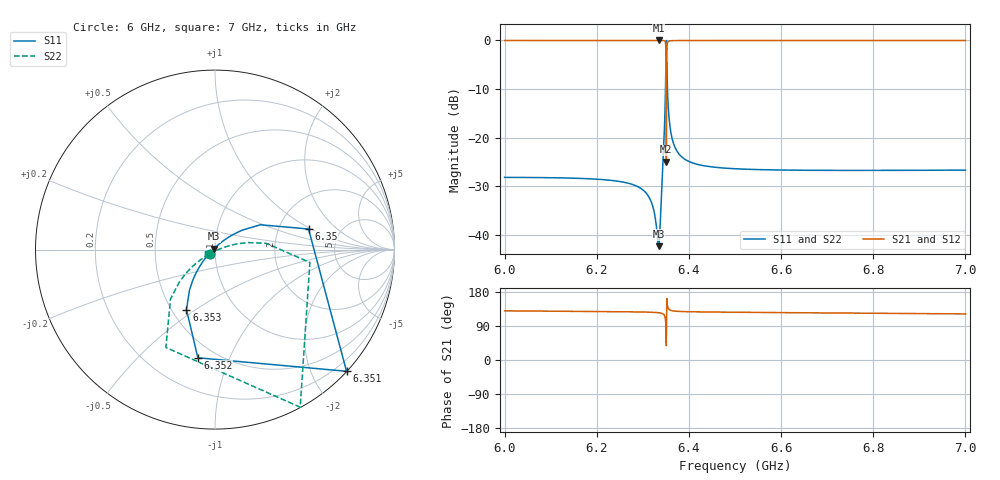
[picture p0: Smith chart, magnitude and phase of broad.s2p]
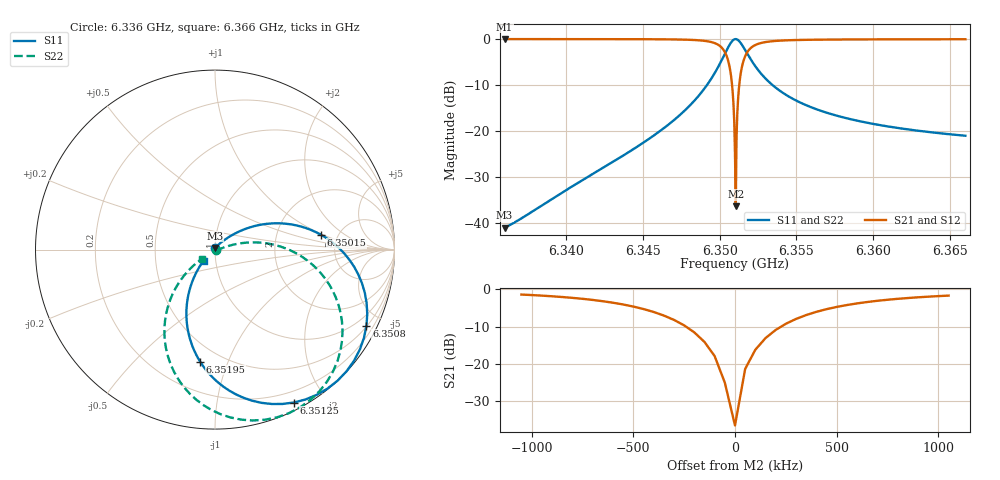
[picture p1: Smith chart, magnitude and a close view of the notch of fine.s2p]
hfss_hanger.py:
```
"""Single-channel HFSS driven S21 simulation for Design7_Tunable_Transmon lambda/4 hanger resonator.

Follows skill/em_simulation.md defaults:
- 4 adaptive passes, max_delta_s = 0.01, first-order basis
- Explicit 10 um length-based mesh on feedline and resonator traces
- Ground wire bonds on every etched path (wb_threshold = '350um')
- Broadband sweep to locate dip + fine sweep around dip to extract f_r, Q_c, and kappa/2pi

Usage (from repository root, qmetal Python, AEDT running):
    python -X utf8 -B Design7_Tunable_Transmon/simulation/resonator/hfss_hanger.py \
        --tag hanger_base --f-target 6.5 --coup-len 300 --coup-strip 8
"""
from argparse import ArgumentParser
from collections import OrderedDict
from pathlib import Path
import json
import math
import sys
import time
import warnings

import numpy as np
import pandas as pd

warnings.filterwarnings('ignore')

REPO = Path(__file__).resolve().parents[3]
sys.path[:0] = [str(REPO / 'code' / 'general')]
import project_paths  # noqa: E402

project_paths.configure(__file__)
DESIGN = project_paths.design_dir(__file__)
sys.path[:0] = [str(DESIGN / 'layout'), *project_paths.pattern_design_paths()]

from qiskit_metal import Dict, designs  # noqa: E402
from qiskit_metal.qlibrary.terminations.open_to_ground import OpenToGround  # noqa: E402
from qiskit_metal.qlibrary.tlines.straight_path import RouteStraight  # noqa: E402
import build as d7  # noqa: E402
from run_record import create_run, finish_run  # noqa: E402


def read_s2p(path):
    """Read a 2-port Touchstone file (MA / RI / DB) and return (freq_ghz, s11, s21)."""
    fmt = 'MA'
    freq_scale = 1.0
    rows = []
    with open(path, 'r', encoding='utf-8', errors='ignore') as fh:
        for line in fh:
            s = line.strip()
            if not s or s.startswith('!'):
                continue
            if s.startswith('#'):
                toks = s.upper().split()
                for t in ('MA', 'RI', 'DB'):
                    if t in toks:
                        fmt = t
                if 'HZ' in toks and 'GHZ' not in toks and 'MHZ' not in toks:
                    freq_scale = 1e-9
                elif 'MHZ' in toks:
                    freq_scale = 1e-3
                continue
            vals = [float(x) for x in s.split()]
            if len(vals) >= 9:
                rows.append(vals[:9])
    arr = np.asarray(rows, float)
    freq = arr[:, 0] * freq_scale

    def pair(a, b):
        if fmt == 'RI':
            return a + 1j * b
        if fmt == 'MA':
            return a * np.exp(1j * np.deg2rad(b))
        # DB
        return (10.0 ** (a / 20.0)) * np.exp(1j * np.deg2rad(b))

    return freq, pair(arr[:, 1], arr[:, 2]), pair(arr[:, 3], arr[:, 4])


def export_sweep_s2p(design_obj, setup_name, sweep_name, out_path):
    sol = design_obj._design.GetModule('Solutions')
    out_str = str(Path(out_path).resolve())
    sol.ExportNetworkData('', [f'{setup_name}:{sweep_name}'], 3, out_str, ['All'],
                          True, 50, 'S', -1, 0, 15, True, True, False)
    return read_s2p(out_str)


def fit_notch_s21(freq_ghz, s21_complex):
    """Extract f_r, Q_c, and kappa/2pi from complex S21(f) of a lossless hanger resonator.

    For a lossless side-coupled hanger resonator on a matched feedline:
        S21(f) = A * exp(i*(phi0 + tau*(f - f0))) * (1 - (Q_l / |Q_c|) * exp(i*phi) / (1 + 2i Q_l (f/f_r - 1)))
    For lossless PEC (Q_i -> inf, Q_l = Q_c), |S21|^2 has a Lorentzian dip to ~0 with FWHM = f_r / Q_c = kappa/2pi.
    """
    from scipy.optimize import least_squares

    f = np.asarray(freq_ghz, float)
    s = np.asarray(s21_complex, complex)
    mag = np.abs(s)
    idx_min = int(np.argmin(mag))
    f0_init = float(f[idx_min])

    # Estimate FWHM from half-power points (-3 dB relative to baseline)
    base = float(np.median(mag))
    half_lvl = base / math.sqrt(2.0)
    below = np.where(mag < half_lvl)[0]
    if len(below) >= 2:
        fwhm_init = max(float(f[below[-1]] - f[below[0]]), 1e-4)
    else:
        fwhm_init = 0.001

    # Fit complex notch model in window around dip (+- 10 * fwhm or full fine sweep)
    def model(params, freq):
        fr, ql, qc_mag, phi, a_re, a_im, tau = params
        bg = (a_re + 1j * a_im) * np.exp(1j * tau * (freq - fr))
        denom = 1.0 + 2j * ql * (freq / fr - 1.0)
        return bg * (1.0 - (ql / qc_mag) * np.exp(1j * phi) / denom)

    ql_init = f0_init / fwhm_init
    bg_init = s[0] if abs(f[0] - f0_init) > abs(f[-1] - f0_init) else s[-1]
    p0 = [f0_init, ql_init, ql_init, 0.0, bg_init.real, bg_init.imag, 0.0]
    lb = [f.min(), 100.0, 100.0, -math.pi, -2.0, -2.0, -200.0]
    ub = [f.max(), 5e6, 5e6, math.pi, 2.0, 2.0, 200.0]

    def resid(p):
        diff = model(p, f) - s
        return np.concatenate([diff.real, diff.imag])

    sol = least_squares(resid, p0, bounds=(lb, ub), max_nfev=4000)
    fr, ql, qc_mag, phi, a_re, a_im, tau = [float(x) for x in sol.x]
    qc = qc_mag / max(math.cos(phi), 0.1)
    kappa_mhz = (fr / qc) * 1e3
    kappa_l_mhz = (fr / ql) * 1e3
    rmse = float(np.sqrt(np.mean(np.abs(model(sol.x, f) - s) ** 2)))
    return dict(
        f_r_GHz=fr,
        Q_l=ql,
        Q_c=qc,
        phi_rad=phi,
        kappa_c_MHz=kappa_mhz,
        kappa_l_MHz=kappa_l_mhz,
        f_min_raw_GHz=f0_init,
        s21_min_dB=float(20.0 * np.log10(max(mag[idx_min], 1e-12))),
        fit_rmse=rmse,
    )


def build_hanger_fixture(f_target_ghz, coup_len_um, coup_strip_um, v_ph=1.2016e8):
    geo, _ = d7.load_config()
    geo = json.loads(json.dumps(geo))
    geo['hanger_resonator']['coupling_length_um'] = float(coup_len_um)
    geo['hanger_resonator']['coupling_ground_strip_um'] = float(coup_strip_um)

    d = designs.DesignPlanar(overwrite_enabled=True)
    d.chips.main.size.size_x = '3.2mm'
    d.chips.main.size.size_y = '2.8mm'
    d.chips.main.size.size_z = '-500um'
    d.chips.main.material = 'silicon'

    cpw_cfg = geo['cpw']
    cpw = dict(trace_width=f"{cpw_cfg['trace_width_um']:g}um",
               trace_gap=f"{cpw_cfg['trace_gap_um']:g}um")

    y_feed = -0.8
    OpenToGround(d, 'feed_in', options=dict(
        pos_x='-1.35mm', pos_y=f'{y_feed}mm', orientation='180',
        width=cpw['trace_width'], gap=cpw['trace_gap'], termination_gap='6um',
    ))
    OpenToGround(d, 'feed_out', options=dict(
        pos_x='1.35mm', pos_y=f'{y_feed}mm', orientation='0',
        width=cpw['trace_width'], gap=cpw['trace_gap'], termination_gap='6um',
    ))
    RouteStraight(d, 'feedline', options=Dict(
        chip='main',
        pin_inputs=Dict(
            start_pin=Dict(component='feed_in', pin='open'),
            end_pin=Dict(component='feed_out', pin='open'),
        ),
        **cpw,
    ))

    l_target = d7.quarter_wave_mm(f_target_ghz, v_ph=v_ph, load_shorten_mm=0.0)
    rep = d7.add_hanger_resonator(d, 'R_test', 0.0, y_feed, +1, l_target, geo, end_pin=None)

    # Auto wirebonds (wb_size=2) extend >8 um into ground and short across narrow (<10 um)
    # hanger coupling strips. Keep auto wirebonds off on this single-channel coupling fixture
    # (documented solver override in run.json and README).
    d.qgeometry.tables['path']['hfss_wire_bonds'] = False
    return d, rep, geo


def main():
    ap = ArgumentParser(description=__doc__)
    ap.add_argument('--tag', default='hfss_hanger')
    ap.add_argument('--f-target', type=float, default=6.5)
    ap.add_argument('--coup-len', type=float, default=300.0)
    ap.add_argument('--coup-strip', type=float, default=8.0)
    ap.add_argument('--max-passes', type=int, default=4)
    ap.add_argument('--mesh-um', type=float, default=10.0)
    ap.add_argument('--f-start', type=float, default=6.0)
    ap.add_argument('--f-stop', type=float, default=7.0)
    a = ap.parse_args()

    d, rep, geo = build_hanger_fixture(a.f_target, a.coup_len, a.coup_strip)
    folder = create_run(
        DESIGN.name, 'resonator', a.tag, entrypoint=__file__,
        inputs=[DESIGN / 'design.json', DESIGN / 'parameters' / 'geometry.json',
                DESIGN / 'layout' / 'build.py'],
        parameters=dict(
            f_target_GHz=a.f_target,
            coupling_length_um=a.coup_len,
            coupling_ground_strip_um=a.coup_strip,
            resonator_length_mm=rep['actual_filleted_mm'],
            hfss_max_passes=a.max_passes,
            hfss_max_delta_s=0.01,
            explicit_mesh_length_um=a.mesh_um,
            mesh_targets=['trace_feedline', 'trace_R_test'],
            wire_bonds=dict(wb_threshold='350um', wb_offset='0um', wb_size=2),
            broad_sweep_GHz=[a.f_start, a.f_stop],
        ),
    )
    print('RUN_FOLDER=' + str(folder), flush=True)

    try:
        from qiskit_metal.analyses.simulation import ScatteringImpedanceSim
        import save_aedt
        import hfss_dirs

        temp = hfss_dirs.use_d_drive()
        # Use short project/design name (D7.aedt) so AEDT .aedtresults paths stay below Windows 260-char MAX_PATH
        proj = DESIGN / 'simulation' / 'aedt' / 'D7.aedt'
        save_aedt.use_project(str(proj))

        sim = ScatteringImpedanceSim(d, 'hfss')
        hfss = sim.renderer
        hfss.start()
        hfss.options['wb_threshold'] = '350um'
        hfss.options['wb_offset'] = '0um'
        hfss.options['wb_size'] = 2
        hfss.options['x_buffer_width_mm'] = 0.2
        hfss.options['y_buffer_width_mm'] = 0.2

        dname = f'R_{folder.name[-4:]}'
        hfss.activate_ansys_design(dname, 'drivenmodal')
        hfss.render_design(
            selection=['feedline', 'R_test'],
            open_pins=[('R_test', 'end')],
            port_list=[('feedline', 'start', 50), ('feedline', 'end', 50)],
            box_plus_buffer=False,
        )

        # Explicit 10 um length-based mesh on CPW traces (skill/em_simulation.md section 2)
        pinfo = hfss.pinfo
        oModeler = pinfo.design.modeler
        all_objs = list(oModeler._modeler.GetObjectsInGroup('Sheets'))
        mesh_objs = [o for o in all_objs if 'feedline' in o or 'R_test' in o]
        mesh_objs = [o for o in mesh_objs if not o.startswith('wire')]
        print('Mesh objects:', mesh_objs, flush=True)

        setup = pinfo.design.create_dm_setup(
            freq_ghz=a.f_target,
            name='Setup1',
            max_delta_s=0.01,
            max_passes=a.max_passes,
            min_passes=2,
            min_converged=1,
            pct_refinement=30,
            basis_order=1,
        )
        if mesh_objs:
            oModeler.mesh_length('cpw_mesh', mesh_objs, MaxLength=f'{a.mesh_um:g}um')

        t0 = time.time()
        # 1. Broadband fast sweep to locate the resonance dip
        setup.insert_sweep(
            a.f_start, a.f_stop, count=1001, name='SweepBroad', type='Fast', save_fields=False
        )
        pinfo.design._design.Analyze('Setup1 : SweepBroad')
        freqs_b, s11_b, s21_b = export_sweep_s2p(
            pinfo.design, 'Setup1', 'SweepBroad', folder / 'raw' / 'broad.s2p'
        )
        f_dip = float(freqs_b[int(np.argmin(np.abs(s21_b)))])
        print(f'Broad sweep dip at {f_dip:.5f} GHz '
              f'(min |S21| = {20*np.log10(max(np.min(np.abs(s21_b)), 1e-12)):.2f} dB, '
              f'med |S21| = {20*np.log10(max(np.median(np.abs(s21_b)), 1e-12)):.2f} dB)', flush=True)

        pd.DataFrame({'freq_ghz': freqs_b, 's21_re': s21_b.real, 's21_im': s21_b.imag}).to_csv(
            folder / 'raw' / 'S21_broad.csv', index=False
        )

        # 2. Fine sweep around dip (+- 15 MHz, 601 points -> 0.05 MHz step)
        f_lo, f_hi = round(f_dip - 0.015, 5), round(f_dip + 0.015, 5)
        setup.insert_sweep(
            f_lo, f_hi, count=601, name='SweepFine', type='Fast', save_fields=False
        )
        pinfo.design._design.Analyze('Setup1 : SweepFine')
        freqs_f, s11_f, s21_f = export_sweep_s2p(
            pinfo.design, 'Setup1', 'SweepFine', folder / 'raw' / 'fine.s2p'
        )
        elapsed = time.time() - t0
        pd.DataFrame({'freq_ghz': freqs_f, 's21_re': s21_f.real, 's21_im': s21_f.imag}).to_csv(
            folder / 'raw' / 'S21_fine.csv', index=False
        )

        fit = fit_notch_s21(freqs_f, s21_f)
        v_eff = 4.0 * (fit['f_r_GHz'] * 1e9) * (rep['actual_filleted_mm'] * 1e-3)
        summary = dict(
            fit=fit,
            v_eff_m_s=v_eff,
            resonator_length_mm=rep['actual_filleted_mm'],
            coupling_length_um=a.coup_len,
            coupling_ground_strip_um=a.coup_strip,
            elapsed_s=round(elapsed, 1),
            solver_temp=temp['after'],
            mesh_objects=mesh_objs,
        )
        (folder / 'summaries').mkdir(parents=True, exist_ok=True)
        (folder / 'summaries' / 'summary.json').write_text(
            json.dumps(summary, indent=2) + '\n', encoding='utf-8'
        )
        finish_run(folder, status='completed', summary=summary)

        print(f"\n=== HFSS Hanger S21 Result ({elapsed:.1f} s) ===")
        print(f"  f_r     = {fit['f_r_GHz']:.5f} GHz  (target {a.f_target:.3f} GHz, v_eff = {v_eff:.4e} m/s)")
        print(f"  Q_c     = {fit['Q_c']:.1f}  (Q_l = {fit['Q_l']:.1f})")
        print(f"  kappa/2pi = {fit['kappa_c_MHz']:.3f} MHz  (target 0.500 MHz)")
    except Exception as exc:
        finish_run(folder, status='failed', summary=dict(error=repr(exc)))
        raise
    finally:
        try:
            import save_aedt
            desk = save_aedt._desktop()
            desk.get_active_project()._project.Save()
            desk._desktop.CloseProject('D7')
        except Exception:
            pass


if __name__ == '__main__':
    main()
```
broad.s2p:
! Touchstone file exported from HFSS 2021.2.0
!  File:  D:/Jay PhD/Code/Christian Andersen lab metal/andersen-lab-qiskit-metal-7ffcf333120ae557fdd8582a17358975285c58c2/SQL HFSS/Design7_Tunable_Transmon/simulation/aedt/D7.aedt
!  Generated:  8:50:32 %x4E0B%x5348  %x5341%x4E00%x6708 22, 2026
!  Design:  R_8c10
!  Project:  D7
!  Setup:  Setup1
!  Solution:  SweepBroad
# GHz S MA R 50.000000
! Terminal data exported
! Port[1] = LumpPort_feedline_end
! Port[2] = LumpPort_feedline_start
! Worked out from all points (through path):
!   1001 points, 6 GHz to 7 GHz, reference 50 ohm
!   highest |S21| = 0.00 dB at 6.334 GHz (marker M1); lowest = -25.0 dB at 6.351 GHz (marker M2)
!   lowest |S11| = -42.3 dB at 6.334 GHz (marker M3), VSWR 1.02, Z = 49.4 + j0.479 ohm
!   |S11| at or under -10 dB: start of sweep to 6.349 GHz; 6.353 GHz to end of sweep
!   |S22| runs from -42.3 to 0.0 dB; largest |S21 - S12| = 5.1e-13
!   S11 on the Smith chart (normalised r, x): 6 GHz: 0.94, -0.05; 6.35 GHz: 2.95, +0.95; 6.351 GHz: 0.01, -2.55; 6.352 GHz: 0.40, -0.77; 6.353 GHz: 0.59, -0.46; 7 GHz: 0.92, -0.04
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6  0.03905 -141.6  0.9992 129.8  0.9992 129.8  0.03905 -138.9
! Gamma 0 0 0 0
! Port Impedance 50 0 50 0
6.279  0.03283 -146.9  0.9995 127.0  0.9995 127.0  0.03283 -139.1
6.334  0.007657 140.7  1 124.8  1 124.8  0.007657 -71.2
6.35  0.5336 12.4  0.8457 92.3  0.8457 92.3  0.5335 -7.8
6.351  0.9984 -42.8  0.05648 37.9  0.05648 37.9  0.9983 -61.6
6.352  0.6102 -99.0  0.7923 162.2  0.7923 162.2  0.6102 -116.7
6.353  0.3704 -115.4  0.9289 146.3  0.9289 146.3  0.3704 -132.0
6.363  0.1003 -134.7  0.995 130.2  0.995 130.2  0.1003 -144.8
6.38  0.06656 -139.1  0.9978 128.1  0.9978 128.1  0.06656 -144.7
6.5  0.04791 -143.9  0.9989 126.0  0.9989 126.0  0.04791 -144.1
7  0.04638 -149.2  0.9989 121.6  0.9989 121.6  0.04638 -147.6
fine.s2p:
! Touchstone file exported from HFSS 2021.2.0
!  File:  D:/Jay PhD/Code/Christian Andersen lab metal/andersen-lab-qiskit-metal-7ffcf333120ae557fdd8582a17358975285c58c2/SQL HFSS/Design7_Tunable_Transmon/simulation/aedt/D7.aedt
!  Generated:  8:52:35 %x4E0B%x5348  %x5341%x4E00%x6708 22, 2026
!  Design:  R_8c10
!  Project:  D7
!  Setup:  Setup1
!  Solution:  SweepFine
# GHz S MA R 50.000000
! Terminal data exported
! Port[1] = LumpPort_feedline_end
! Port[2] = LumpPort_feedline_start
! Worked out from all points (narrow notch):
!   601 points, 6.336 GHz to 6.366 GHz, reference 50 ohm
!   highest |S21| = 0.00 dB at 6.336 GHz (marker M1); lowest = -36.4 dB at 6.35105 GHz (marker M2)
!   notch at M2: 36.4 dB deep, 178 kHz wide at half that depth
!   lowest |S11| = -41.0 dB at 6.336 GHz (marker M3), VSWR 1.02, Z = 49.8 + j0.862 ohm
!   |S11| at or under -10 dB: start of sweep to 6.349175 GHz; 6.353441 GHz to end of sweep
!   |S22| runs from -41.0 to 0.0 dB; largest |S21 - S12| = 3.7e-14
!   S11 on the Smith chart (normalised r, x): 6.336 GHz: 1.00, +0.02; 6.35015 GHz: 3.71, +0.95; 6.3508 GHz: 0.53, -4.15; 6.35125 GHz: 0.08, -1.64; 6.35195 GHz: 0.39, -0.80; 6.366 GHz: 0.87, -0.11
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6.336  0.00888 102.8  1 124.4  1 124.4  0.00888 -33.9
! Gamma 0 0 0 0
! Port Impedance 50 0 50 0
6.3472  0.139 39.1  0.9903 116.6  0.9903 116.6  0.139 14.1
6.35015  0.5971 7.9  0.8022 87.9  0.8022 87.9  0.5971 -12.1
6.3508  0.9446 -26.7  0.3281 53.7  0.3281 53.7  0.9446 -45.8
6.351  0.9984 -42.8  0.0564 37.8  0.0564 37.8  0.9984 -61.6
6.35105  0.9999 -46.9  0.01512 -146.3  0.01512 -146.3  0.9999 -65.7
6.35125  0.9585 -62.7  0.285 -162.0  0.285 -162.0  0.9585 -81.3
6.3515  0.842 -79.0  0.5395 -178.1  0.5395 -178.1  0.842 -97.2
6.35195  0.6295 -97.6  0.777 163.6  0.777 163.6  0.6295 -115.3
6.3549  0.2179 -125.4  0.976 137.1  0.976 137.1  0.2179 -140.3
6.366  0.08878 -136.0  0.9961 129.5  0.9961 129.5  0.08878 -145.0
